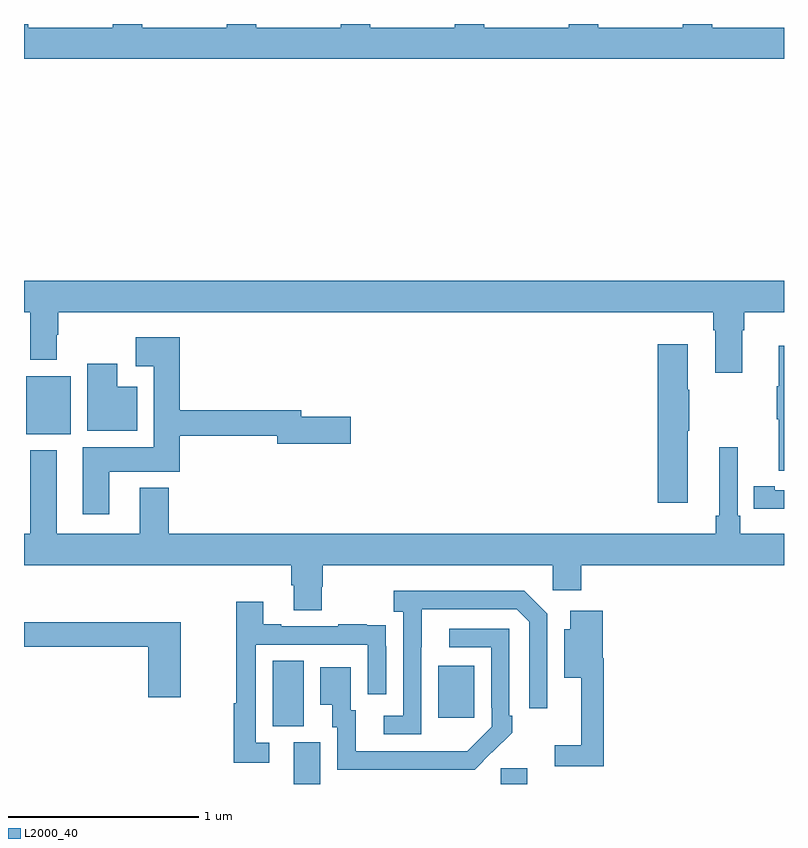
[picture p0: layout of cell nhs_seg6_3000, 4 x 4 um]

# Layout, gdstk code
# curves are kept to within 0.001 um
import gdstk
lib = gdstk.Library(unit=1e-6, precision=1e-09)
def R(c, l, rs):  # rectangles x0, y0, x1, y1
    for r in rs: c.add(gdstk.rectangle(r[:2], r[2:], *l))
def P(c, l, *ps):  # polygons
    for p in ps: c.add(gdstk.Polygon(p, *l))
L2000_40 = (2000, 40)

nhs_seg6_3000 = lib.new_cell('nhs_seg6_3000')
R(nhs_seg6_3000, L2000_40, [(288.419,963.5,288.559,963.72), (289.509,963.5,289.648,963.582), (288.308,963.805,288.472,964.148), (289.181,963.849,289.369,964.123), (287.012,965.342,287.245,965.647)])
P(nhs_seg6_3000, L2000_40, [(291,967.48),(290.622,967.48),(290.622,967.5),(290.467,967.5),(290.467,967.48),(290.022,967.48),(290.022,967.5),(289.867,967.5),(289.867,967.48),(289.422,967.48),(289.422,967.5),(289.267,967.5),(289.267,967.48),(288.822,967.48),(288.822,967.5),(288.667,967.5),(288.667,967.48),(288.222,967.48),(288.222,967.5),(288.067,967.5),(288.067,967.48),(287.622,967.48),(287.622,967.5),(287.467,967.5),(287.467,967.48),(287.022,967.48),(287.022,967.5),(287,967.5),(287,967.316),(291,967.316)],
  [(290.779,965.888),(290.792,965.888),(290.792,965.984),(291,965.984),(291,966.148),(287,966.148),(287,965.984),(287.033,965.984),(287.033,965.732),(287.173,965.732),(287.173,965.864),(287.181,965.864),(287.181,965.984),(290.627,965.984),(290.627,965.888),(290.639,965.888),(290.639,965.664),(290.779,965.664)],
  [(287.449,965.144),(287.819,965.144),(287.819,965.332),(288.332,965.332),(288.332,965.29),(288.721,965.29),(288.721,965.432),(288.46,965.432),(288.46,965.468),(287.819,965.468),(287.819,965.851),(287.589,965.851),(287.589,965.699),(287.684,965.699),(287.684,965.272),(287.309,965.272),(287.309,964.92),(287.449,964.92)],
  [(290.494,965.359),(290.502,965.359),(290.502,965.576),(290.494,965.576),(290.494,965.815),(290.336,965.815),(290.336,964.98),(290.494,964.98)],
  [(291,965.806),(290.972,965.806),(290.972,965.593),(290.961,965.593),(290.961,965.419),(290.972,965.419),(290.972,965.148),(291,965.148)],
  [(287.596,965.59),(287.491,965.59),(287.491,965.713),(287.333,965.713),(287.333,965.36),(287.596,965.36)],
  [(288.567,964.539),(288.572,964.539),(288.572,964.652),(289.782,964.652),(289.782,964.521),(289.934,964.521),(289.934,964.652),(291,964.652),(291,964.816),(290.771,964.816),(290.771,964.912),(290.757,964.912),(290.757,965.272),(290.66,965.272),(290.66,964.912),(290.641,964.912),(290.641,964.816),(287.762,964.816),(287.762,965.059),(287.609,965.059),(287.609,964.816),(287.173,964.816),(287.173,965.257),(287.033,965.257),(287.033,964.816),(287,964.816),(287,964.652),(288.407,964.652),(288.407,964.546),(288.419,964.546),(288.419,964.414),(288.567,964.414)],
  [(291,965.046),(290.95,965.046),(290.95,965.066),(290.842,965.066),(290.842,964.95),(290.95,964.95),(290.95,964.949),(291,964.949)],
  [(289.092,964.219),(289.093,964.419),(289.593,964.419),(289.659,964.353),(289.659,963.9),(289.755,963.9),(289.755,964.395),(289.634,964.516),(288.945,964.516),(288.945,964.406),(288.996,964.406),(288.996,963.858),(288.894,963.858),(288.894,963.762),(289.092,963.762)],
  [(288.292,963.717),(288.219,963.717),(288.219,964.233),(288.81,964.233),(288.81,963.972),(288.906,963.972),(288.906,964.226),(288.905,964.226),(288.905,964.335),(288.803,964.335),(288.803,964.342),(288.655,964.342),(288.655,964.329),(288.355,964.329),(288.355,964.342),(288.259,964.342),(288.259,964.459),(288.118,964.459),(288.118,963.924),(288.103,963.924),(288.103,963.612),(288.292,963.612)],
  [(290.051,964.162),(290.045,964.162),(290.045,964.411),(289.874,964.411),(289.874,964.315),(289.844,964.315),(289.844,964.058),(289.934,964.058),(289.934,963.703),(289.794,963.703),(289.794,963.594),(290.051,963.594)],
  [(287.824,964.351),(287,964.351),(287,964.222),(287.654,964.222),(287.654,963.957),(287.824,963.957)],
  [(289.463,963.667),(289.464,963.666),(289.569,963.771),(289.569,963.859),(289.554,963.859),(289.554,964.317),(289.239,964.317),(289.239,964.221),(289.458,964.221),(289.458,963.901),(289.461,963.901),(289.461,963.801),(289.333,963.673),(288.745,963.672),(288.745,963.888),(288.721,963.888),(288.721,964.114),(288.56,964.114),(288.56,963.917),(288.623,963.917),(288.623,963.798),(288.648,963.798),(288.648,963.576),(289.372,963.576)])

lib.write_gds('nhs_seg6_3000.gds')
